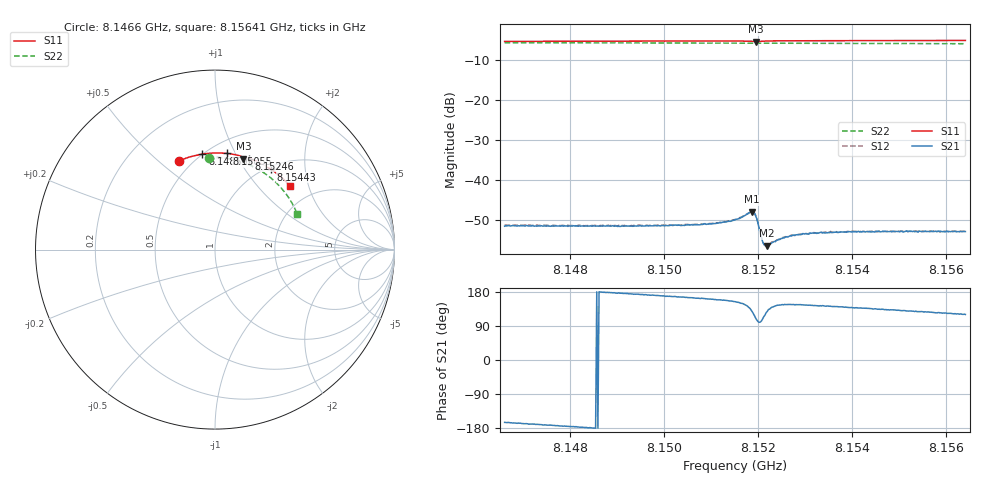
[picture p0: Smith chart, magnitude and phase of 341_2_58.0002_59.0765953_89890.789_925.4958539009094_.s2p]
#  HZ  S  RI  R  50.00
! Rohde & Schwarz Vector Network Analyzer
! Rohde-Schwarz,ZNB20-2Port,1311601062101988,3.16
! Created: UTC 3/21/2024, 1:05:37 AM
! freq[Hz]  re:S11  im:S11  re:S21  im:S21  re:S12  im:S12  re:S22  im:S22
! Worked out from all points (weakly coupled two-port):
!   401 points, 8.1466 GHz to 8.15641 GHz, reference 50 ohm
!   highest |S21| = -48.05 dB at 8.15188 GHz (marker M1); lowest = -56.6 dB at 8.15219 GHz (marker M2)
!   lowest |S11| = -5.5 dB at 8.15195 GHz (marker M3), VSWR 3.26, Z = 37.2 + j52.4 ohm
!   |S11| at or under -10 dB: nowhere
!   |S22| runs from -6.0 to -5.8 dB; largest |S21 - S12| = 0.00012
!   S11 on the Smith chart (normalised r, x): 8.1466 GHz: 0.42, +0.58; 8.14859 GHz: 0.50, +0.75; 8.15055 GHz: 0.61, +0.92; 8.15246 GHz: 0.77, +1.11; 8.15443 GHz: 1.05, +1.33; 8.15641 GHz: 1.50, +1.52
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8.146601e9  -0.2027 0.493  -0.00252 -0.000694  -0.00262 -0.000689  -0.0361 0.5125
8.148244e9  -0.0935 0.5278  -0.00263 -0.000125  -0.00266 -7.29e-05  0.0712 0.5071
8.148588e9  -0.0699 0.5322  -0.00262 -1.51e-05  -0.00263 3.24e-05  0.0931 0.5031
8.149888e9  0.0202 0.5386  -0.00262 0.00047  -0.00262 0.000474  0.1736 0.4794
8.15055e9  0.0664 0.5359  -0.00259 0.000725  -0.00262 0.000777  0.2127 0.4625
8.151213e9  0.1126 0.5291  -0.0027 0.00106  -0.00268 0.00107  0.25 0.4424
8.151507e9  0.1337 0.5241  -0.00283 0.00138  -0.00281 0.00144  0.2659 0.4324
8.151826e9  0.1563 0.513  -0.00281 0.00269  -0.00276 0.00275  0.2827 0.4206
8.151875e9  0.1582 0.5098  -0.00239 0.00315  -0.00238 0.00319  0.285 0.4187
8.151924e9  0.1584 0.5071  -0.00168 0.00338  -0.0016 0.00344  0.2875 0.417
8.151949e9  0.1579 0.5064  -0.0012 0.00329  -0.00119 0.00336  0.2886 0.4161
8.151973e9  0.1575 0.5069  -0.000843 0.00311  -0.000808 0.00313  0.2899 0.4152
8.152071e9  0.1608 0.5106  -0.000423 0.00181  -0.000413 0.00184  0.2949 0.4118
8.152096e9  0.1626 0.5113  -0.00053 0.00159  -0.000487 0.00161  0.2961 0.411
8.152145e9  0.1667 0.5119  -0.000707 0.00132  -0.000745 0.0013  0.2987 0.4092
8.152194e9  0.1706 0.5118  -0.000915 0.00117  -0.000907 0.00116  0.3011 0.4073
8.152464e9  0.191 0.5075  -0.00147 0.00102  -0.00147 0.00102  0.3146 0.3964
8.152685e9  0.2061 0.5023  -0.00166 0.0011  -0.00163 0.00114  0.3252 0.3873
8.153151e9  0.2366 0.4897  -0.00174 0.00125  -0.0017 0.00128  0.3467 0.3671
8.154427e9  0.3137 0.4467  -0.00158 0.00156  -0.00159 0.00162  0.3986 0.3063
8.154795e9  0.3344 0.4319  -0.0015 0.00166  -0.00151 0.00165  0.4118 0.2873
8.156414e9  0.4163 0.3566  -0.00113 0.00194  -0.00116 0.00196  0.4581 0.1982
